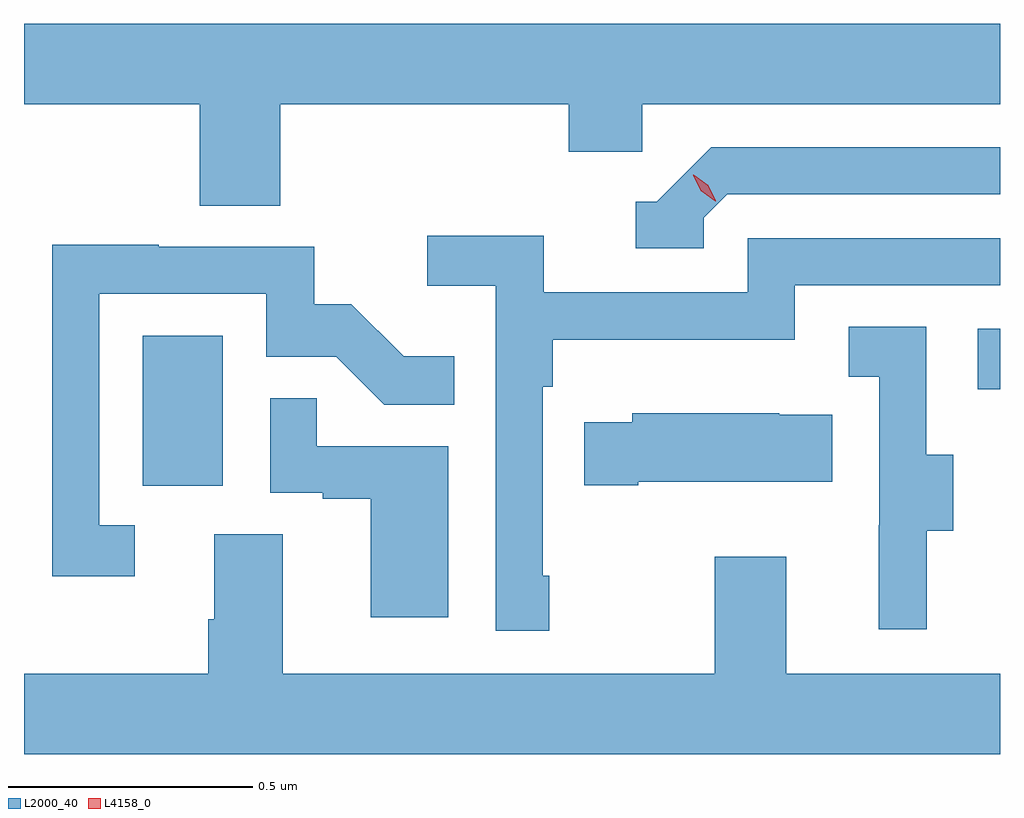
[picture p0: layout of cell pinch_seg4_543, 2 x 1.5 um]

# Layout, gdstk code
import gdstk
lib = gdstk.Library(unit=1e-6, precision=1e-09)
def R(c, l, rs):  # rectangles x0, y0, x1, y1
    for r in rs: c.add(gdstk.rectangle(r[:2], r[2:], *l))
def P(c, l, *ps):  # polygons
    for p in ps: c.add(gdstk.Polygon(p, *l))
L2000_40 = (2000, 40)
L4158_0 = (4158, 0)

pinch_seg4_543 = lib.new_cell('pinch_seg4_543')
R(pinch_seg4_543, L2000_40, [(1079.516,777.39,1079.68,777.697), (1081.227,777.587,1081.273,777.711)])
P(pinch_seg4_543, L2000_40, [(1079.798,778.172),(1080.389,778.172),(1080.389,778.074),(1080.54,778.074),(1080.54,778.172),(1081.273,778.172),(1081.273,778.336),(1079.273,778.336),(1079.273,778.172),(1079.633,778.172),(1079.633,777.964),(1079.798,777.964)],
  [(1080.666,777.939),(1080.714,777.987),(1081.273,777.987),(1081.273,778.083),(1080.681,778.083),(1080.57,777.972),(1080.527,777.972),(1080.527,777.876),(1080.666,777.876)],
  [(1080.349,777.205),(1080.336,777.205),(1080.336,777.593),(1080.356,777.593),(1080.356,777.689),(1080.852,777.689),(1080.852,777.801),(1081.273,777.801),(1081.273,777.897),(1080.756,777.897),(1080.756,777.786),(1080.338,777.786),(1080.338,777.902),(1080.099,777.902),(1080.099,777.8),(1080.24,777.8),(1080.24,777.093),(1080.349,777.093)],
  [(1079.5,777.309),(1079.427,777.309),(1079.427,777.783),(1079.769,777.783),(1079.769,777.654),(1079.913,777.654),(1080.011,777.556),(1080.155,777.556),(1080.155,777.655),(1080.051,777.655),(1079.944,777.762),(1079.868,777.762),(1079.868,777.879),(1079.549,777.879),(1079.549,777.884),(1079.331,777.884),(1079.331,777.204),(1079.5,777.204)],
  [(1081.123,777.298),(1081.177,777.298),(1081.177,777.453),(1081.122,777.453),(1081.122,777.716),(1080.963,777.716),(1080.963,777.613),(1081.026,777.613),(1081.026,777.309),(1081.025,777.309),(1081.025,777.096),(1081.123,777.096)],
  [(1080.142,777.471),(1079.873,777.471),(1079.873,777.569),(1079.778,777.569),(1079.778,777.375),(1079.885,777.375),(1079.885,777.363),(1079.984,777.363),(1079.984,777.12),(1080.142,777.12)],
  [(1080.532,777.398),(1080.929,777.398),(1080.929,777.535),(1080.821,777.535),(1080.821,777.538),(1080.519,777.538),(1080.519,777.52),(1080.421,777.52),(1080.421,777.391),(1080.532,777.391)],
  [(1081.273,777.004),(1080.835,777.004),(1080.835,777.244),(1080.688,777.244),(1080.688,777.004),(1079.803,777.004),(1079.803,777.29),(1079.663,777.29),(1079.663,777.116),(1079.651,777.116),(1079.651,777.004),(1079.273,777.004),(1079.273,776.84),(1081.273,776.84)])
P(pinch_seg4_543, L4158_0, [(1080.69,777.973),(1080.66,777.994),(1080.644,778.026),(1080.644,778.027),(1080.645,778.027),(1080.675,778.006),(1080.691,777.974),(1080.691,777.973)])

lib.write_gds('pinch_seg4_543.gds')
